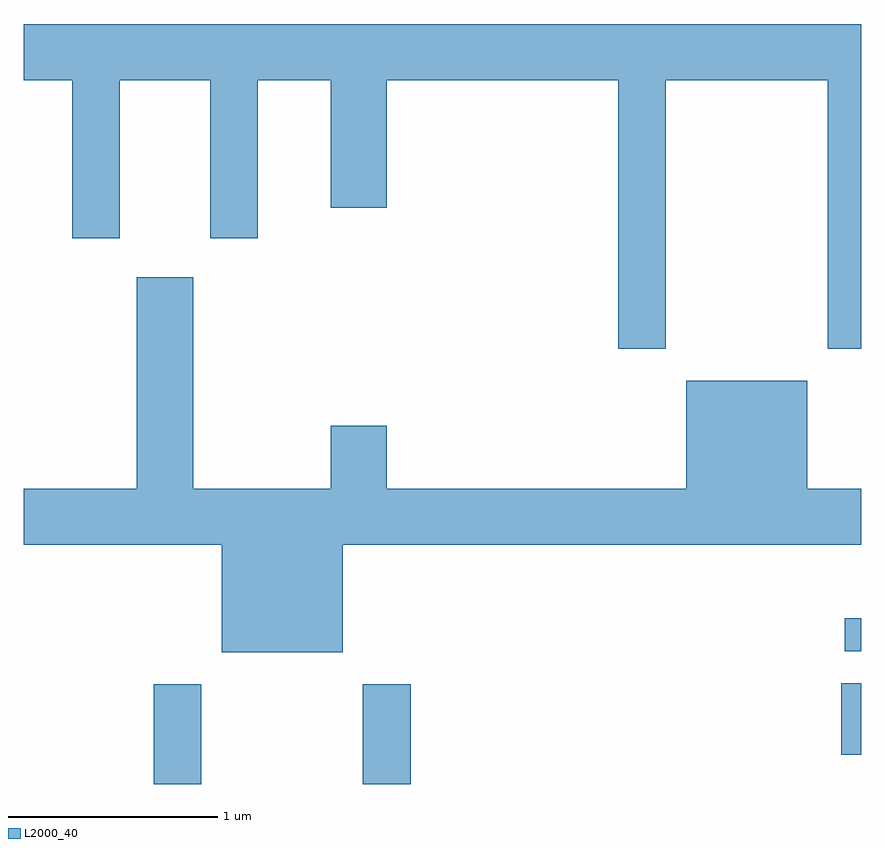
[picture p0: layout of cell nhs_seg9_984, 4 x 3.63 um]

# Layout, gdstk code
import gdstk
lib = gdstk.Library(unit=1e-6, precision=1e-09)
def R(c, l, rs):  # rectangles x0, y0, x1, y1
    for r in rs: c.add(gdstk.rectangle(r[:2], r[2:], *l))
def P(c, l, *ps):  # polygons
    for p in ps: c.add(gdstk.Polygon(p, *l))
L2000_40 = (2000, 40)

nhs_seg9_984 = lib.new_cell('nhs_seg9_984')
R(nhs_seg9_984, L2000_40, [(214.231,2008.432,214.459,2008.909), (215.231,2008.432,215.459,2008.909), (217.516,2008.571,217.611,2008.914), (217.533,2009.066,217.611,2009.224)])
P(nhs_seg9_984, L2000_40, [(216.679,2011.796),(217.451,2011.796),(217.451,2010.511),(217.611,2010.511),(217.611,2012.064),(213.611,2012.064),(213.611,2011.796),(213.841,2011.796),(213.841,2011.041),(214.069,2011.041),(214.069,2011.796),(214.501,2011.796),(214.501,2011.041),(214.729,2011.041),(214.729,2011.796),(215.076,2011.796),(215.076,2011.186),(215.344,2011.186),(215.344,2011.796),(216.451,2011.796),(216.451,2010.511),(216.679,2010.511)],
  [(215.134,2009.576),(217.611,2009.576),(217.611,2009.844),(217.354,2009.844),(217.354,2010.359),(216.776,2010.359),(216.776,2009.844),(215.344,2009.844),(215.344,2010.144),(215.076,2010.144),(215.076,2009.844),(214.419,2009.844),(214.419,2010.854),(214.151,2010.854),(214.151,2009.844),(213.611,2009.844),(213.611,2009.576),(214.556,2009.576),(214.556,2009.061),(215.134,2009.061)])

lib.write_gds('nhs_seg9_984.gds')
